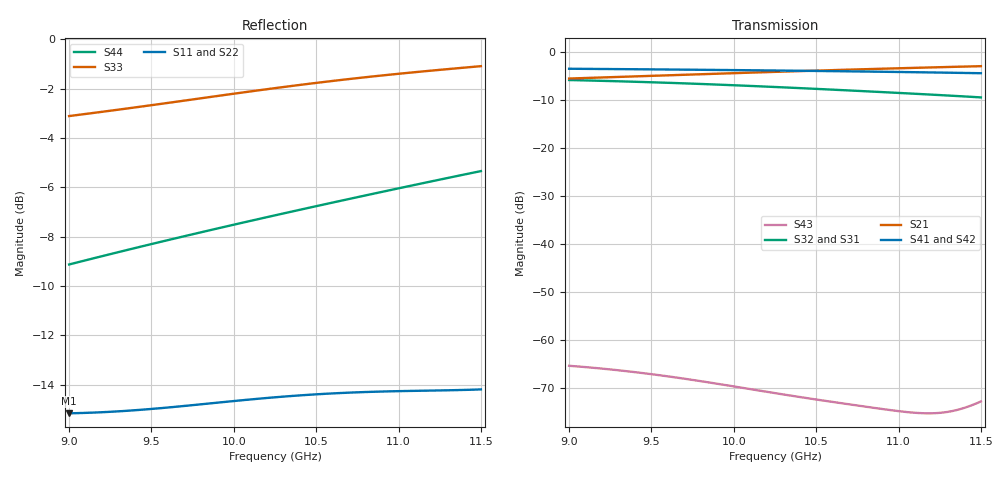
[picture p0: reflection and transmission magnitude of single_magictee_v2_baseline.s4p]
! Touchstone file exported from HFSS 2025.2.4
!  File:  C:/Users/chaoy/Documents/single_magictee_v2_latest/single_magictee_v2.aedt
!  Generated:  02:15:16 PM Sep 19, 2026
!  Design:  SingleMagicT_v2
!  Project:  single_magictee_v2
! Variables:
!  f_adapt = 10.2GHz
!  ridge_g1 = 7.672mm
!  ridge_g2 = 4.984mm
!  ridge_l1 = 9.872mm
!  ridge_l2 = 8.857mm
!  ridge_w = 4.572mm
!  terminal_ridge_len = 6mm
!  wg_a = 22.86mm
!  wg_b = 10.16mm
!Data is not renormalized
# GHz S MA
! Terminal data exported
! Port[1] = P1_CollinearMinusX
! Port[2] = P2_CollinearPlusX
! Port[3] = P3_HArm_Ridged
! Port[4] = P4_EArm
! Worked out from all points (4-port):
!   101 points, 9 GHz to 11.5 GHz, reference per port
!   strongest paths, dB at 9 GHz, 9.625 GHz, 10.25 GHz, 10.88 GHz, 11.5 GHz:
!     S41: -3.6, -3.7, -3.9, -4.2, -4.5
!     S42: -3.6, -3.7, -3.9, -4.2, -4.5
!     S21: -5.6, -4.9, -4.2, -3.6, -3.0
!     S32: -5.9, -6.5, -7.4, -8.4, -9.5
!     S31: -5.9, -6.5, -7.4, -8.4, -9.5
!     S43: -65.3, -67.6, -71.0, -74.2, -72.7
!   lowest |S11| = -15.2 dB at 9 GHz (marker M1), VSWR 1.42
!   |S11| at or under -10 dB: start of sweep to end of sweep
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9  0.1747 -156.9  0.5241 -159.2  0.5059 105.0  0.6624 45.1
   0.5241 -159.2  0.1748 -156.6  0.5058 105.0  0.6625 -134.8
   0.5059 105.0  0.5058 105.0  0.6987 -171.4  0.0005417 -122.6
   0.6624 45.1  0.6625 -134.8  0.0005417 -122.6  0.3497 -109.3
9.325  0.1765 171.0  0.5465 163.6  0.4894 65.3  0.6562 7.8
       0.5465 163.6  0.1766 171.4  0.4893 65.2  0.6563 -172.1
       0.4894 65.3  0.4893 65.2  0.7219 145.1  0.0004813 -167.8
       0.6562 7.8  0.6563 -172.1  0.0004813 -167.8  0.3722 -144.3
9.75  0.1814 129.7  0.5772 116.6  0.4637 14.3  0.6472 -39.3
      0.5772 116.6  0.1816 130.0  0.4636 14.3  0.6473 140.8
      0.4637 14.3  0.4636 14.3  0.755 88.8  0.0003863 136.4
      0.6472 -39.3  0.6473 140.8  0.0003863 136.4  0.4026 170.8
10.05  0.1856 100.5  0.5997 84.2  0.4428 -21.0  0.6402 -71.7
       0.5997 84.2  0.1859 100.7  0.4428 -21.0  0.6401 108.4
       0.4428 -21.0  0.4428 -21.0  0.7796 49.9  0.0003203 99.8
       0.6402 -71.7  0.6401 108.4  0.0003203 99.8  0.4247 139.6
10.45  0.1904 61.4  0.6298 41.7  0.4129 -67.3  0.6298 -114.1
       0.6298 41.7  0.1909 61.6  0.413 -67.3  0.6295 66.0
       0.4129 -67.3  0.413 -67.3  0.8117 -0.9  0.0002492 52.9
       0.6298 -114.1  0.6295 66.0  0.0002492 52.9  0.4551 98.5
11.025  0.1937 5.7  0.6717 -18.5  0.3693 -132.9  0.6123 -173.9
        0.6717 -18.5  0.1949 5.8  0.3696 -132.9  0.6118 6.2
        0.3693 -132.9  0.3696 -132.9  0.8527 -72.6  0.0001811 -31.0
        0.6123 -173.9  0.6118 6.2  0.0001811 -31.0  0.5008 40.0
11.5  0.1953 -39.0  0.7046 -67.4  0.3332 172.5  0.5953 137.3
      0.7046 -67.4  0.1966 -38.9  0.3337 172.6  0.5945 -42.6
      0.3332 172.5  0.3337 172.6  0.8818 -133.5  0.0002307 -144.8
      0.5953 137.3  0.5945 -42.6  0.0002307 -144.8  0.5405 -7.9
